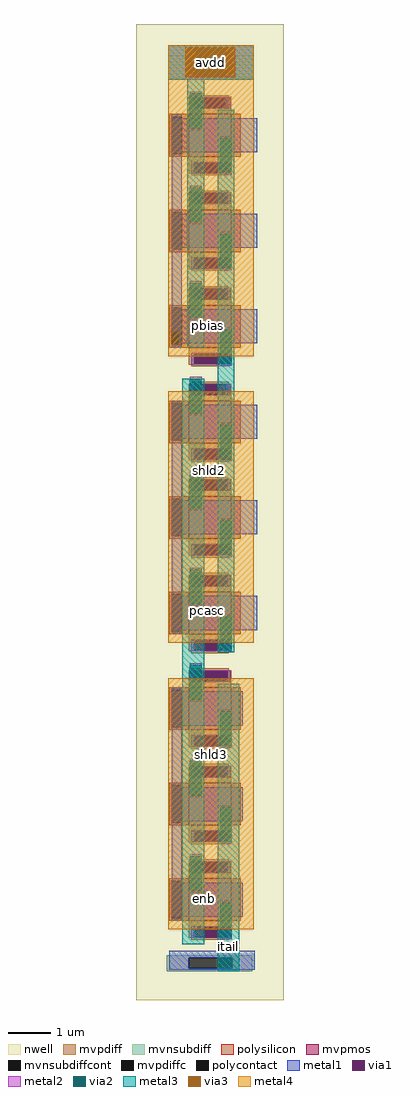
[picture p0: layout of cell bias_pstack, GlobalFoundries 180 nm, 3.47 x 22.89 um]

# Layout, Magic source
magic
tech gf180mcuD
magscale 1 10
<< nwell >>
rect 1036 -1733 1730 2844
<< mvnsubdiff >>
rect 1188 2667 1588 2698
rect 1188 2613 1288 2667
rect 1486 2613 1588 2667
rect 1188 2587 1588 2613
rect 1180 -1535 1580 -1522
rect 1180 -1585 1283 -1535
rect 1488 -1585 1580 -1535
rect 1180 -1598 1580 -1585
<< mvnsubdiffcont >>
rect 1288 2613 1486 2667
rect 1283 -1585 1488 -1535
<< metal1 >>
rect 1188 2667 1588 2744
rect 1188 2613 1288 2667
rect 1486 2613 1588 2667
rect 1188 2583 1588 2613
rect 1204 2243 1605 2402
rect 1204 1954 1250 2243
rect 1204 1795 1605 1954
rect 1204 1506 1250 1795
rect 1204 1401 1605 1506
rect 1240 1346 1605 1401
rect 1204 898 1605 1058
rect 1204 610 1250 898
rect 1204 450 1605 610
rect 1204 162 1250 450
rect 1204 2 1605 162
rect 1204 -446 1536 -286
rect 1204 -735 1250 -446
rect 1204 -894 1536 -735
rect 1204 -1182 1250 -894
rect 1204 -1342 1536 -1182
rect 1193 -1535 1593 -1503
rect 1193 -1585 1283 -1535
rect 1488 -1585 1593 -1535
rect 1193 -1590 1593 -1585
<< metal2 >>
rect 1188 2583 1588 2744
<< metal3 >>
rect 1188 2583 1588 2744
rect 1277 1328 1355 2583
rect 1254 -1472 1355 1180
rect 1419 -103 1497 2443
rect 1419 -1598 1520 -251
<< metal4 >>
rect 1187 1287 1587 2744
rect 1187 -57 1587 1121
rect 1187 -1401 1587 -223
use bias_stack_via  bias_stack_via_0
transform 1 0 374 0 1 -11
box 922 2153 1105 2209
use bias_stack_via  bias_stack_via_1
transform 1 0 374 0 1 -155
box 922 2153 1105 2209
use bias_stack_via  bias_stack_via_2
transform 1 0 374 0 1 293
box 922 2153 1105 2209
use bias_stack_via  bias_stack_via_3
transform 1 0 374 0 1 -459
box 922 2153 1105 2209
use bias_stack_via  bias_stack_via_4
transform 1 0 374 0 1 -907
box 922 2153 1105 2209
use bias_stack_via  bias_stack_via_5
transform 1 0 374 0 1 -603
box 922 2153 1105 2209
use bias_stack_via  bias_stack_via_6
transform 1 0 374 0 1 -1355
box 922 2153 1105 2209
use bias_stack_via  bias_stack_via_7
transform 1 0 374 0 1 -1051
box 922 2153 1105 2209
use bias_stack_via  bias_stack_via_8
transform 1 0 374 0 1 -1803
box 922 2153 1105 2209
use bias_stack_via  bias_stack_via_9
transform 1 0 374 0 1 -1499
box 922 2153 1105 2209
use bias_stack_via  bias_stack_via_10
transform 1 0 374 0 1 -2251
box 922 2153 1105 2209
use bias_stack_via  bias_stack_via_11
transform 1 0 374 0 1 -1947
box 922 2153 1105 2209
use bias_stack_via  bias_stack_via_12
transform 1 0 374 0 1 -2699
box 922 2153 1105 2209
use bias_stack_via  bias_stack_via_13
transform 1 0 374 0 1 -2395
box 922 2153 1105 2209
use bias_stack_via  bias_stack_via_14
transform 1 0 374 0 1 -3147
box 922 2153 1105 2209
use bias_stack_via  bias_stack_via_15
transform 1 0 374 0 1 -2843
box 922 2153 1105 2209
use bias_stack_via  bias_stack_via_16
transform 1 0 374 0 1 -3595
box 922 2153 1105 2209
use bias_stack_via  bias_stack_via_17
transform 1 0 374 0 1 -3291
box 922 2153 1105 2209
use pfet_06v0_3RDKLZ  pfet_06v0_3RDKLZ_0 paramcells
array 0 8 -448 0 0 508
transform 0 1 1359 -1 0 -1262
box -274 -254 274 254
use via_Y6H4DQ  via_Y6H4DQ_0 paramcells
transform 1 0 1386 0 1 2664
box -82 -80 82 80
use via_Y6HE6N  via_Y6HE6N_0 paramcells
transform 1 0 1458 0 1 -1368
box -38 -80 38 100
use via_Y6HE6N  via_Y6HE6N_1
transform 1 0 1317 0 1 -1150
box -38 -80 38 100
use via_Y6HE6N  via_Y6HE6N_2
transform 1 0 1458 0 1 -920
box -38 -80 38 100
use via_Y6HE6N  via_Y6HE6N_3
transform 1 0 1317 0 1 -702
box -38 -80 38 100
use via_Y6HE6N  via_Y6HE6N_4
transform 1 0 1458 0 1 -471
box -38 -80 38 100
use via_Y6HE6N  via_Y6HE6N_5
transform 1 0 1317 0 1 -254
box -38 -80 38 100
use via_Y6HE6N  via_Y6HE6N_6
transform 1 0 1458 0 1 -23
box -38 -80 38 100
use via_Y6HE6N  via_Y6HE6N_7
transform 1 0 1317 0 1 194
box -38 -80 38 100
use via_Y6HE6N  via_Y6HE6N_8
transform 1 0 1458 0 1 424
box -38 -80 38 100
use via_Y6HE6N  via_Y6HE6N_9
transform 1 0 1317 0 1 641
box -38 -80 38 100
use via_Y6HE6N  via_Y6HE6N_10
transform 1 0 1458 0 1 873
box -38 -80 38 100
use via_Y6HE6N  via_Y6HE6N_11
transform 1 0 1317 0 1 1089
box -38 -80 38 100
use via_Y6HE6N  via_Y6HE6N_12
transform 1 0 1458 0 1 1321
box -38 -80 38 100
use via_Y6HE6N  via_Y6HE6N_13
transform 1 0 1317 0 1 1538
box -38 -80 38 100
use via_Y6HE6N  via_Y6HE6N_14
transform 1 0 1458 0 1 1769
box -38 -80 38 100
use via_Y6HE6N  via_Y6HE6N_15
transform 1 0 1317 0 1 1986
box -38 -80 38 100
use via_Y6HE6N  via_Y6HE6N_16
transform 1 0 1458 0 1 2218
box -38 -80 38 100
use via_Y6HE6N  via_Y6HE6N_17
transform 1 0 1317 0 1 2426
box -38 -80 38 100
use via_Y6HG9Q  via_Y6HG9Q_0 paramcells
transform 1 0 1384 0 1 2664
box -128 -80 128 80
<< labels >>
flabel metal3 1419 -1598 1520 -1367 0 FreeSans 738 90 0 0 itail
port 4 nsew
flabel metal1 1241 -1288 1472 -1223 0 FreeSans 738 0 0 0 enb
port 3 nsew
flabel metal4 1389 -582 1389 -582 0 FreeSans 369 0 0 0 shld3
port 10 nsew
flabel metal1 1258 56 1489 129 0 FreeSans 738 0 0 0 pcasc
port 2 nsew
flabel metal4 1382 750 1382 750 0 FreeSans 369 0 0 0 shld2
port 9 nsew
flabel metal1 1255 1401 1486 1463 0 FreeSans 738 0 0 0 pbias
port 1 nsew
flabel metal3 1269 2584 1500 2739 0 FreeSans 738 0 0 0 avdd
port 0 nsew
<< end >>

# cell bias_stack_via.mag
magic
tech gf180mcuD
magscale 1 10
<< metal1 >>
rect 922 2155 934 2207
rect 1093 2155 1105 2207
<< via1 >>
rect 934 2155 1093 2207
<< metal2 >>
rect 922 2207 1105 2209
rect 922 2155 934 2207
rect 1093 2155 1105 2207
rect 922 2153 1105 2155
<< end >>

# cell pfet_06v0_3RDKLZ: kit device pfet_05v0, w 1.0 l 1.0 m 1 nf 1 diffcov 85 polycov 100 guard 0 glc 0 grc 0 gtc 0 gbc 0 tbcov 100 rlcov 100 topc 0 botc 1 poverlap 0 doverlap 0 lmin 0.55 wmin 0.3 class mosfet full_metal 0 compatible {pfet_03v3 pfet_05v0 pfet_06v0}

# cell via_Y6H4DQ: kit device via, metalbot metal1 metaltop metal3 nxcuts 2 nycuts 2 orient default pattern none

# cell via_Y6HE6N: kit device via, metalbot metal2 metaltop metal3 nxcuts 1 nycuts 2 orient default pattern none

# cell via_Y6HG9Q: kit device via, metalbot metal3 metaltop metal4 nxcuts 3 nycuts 2 orient default pattern none
